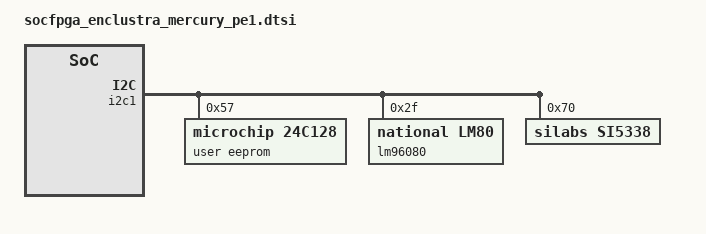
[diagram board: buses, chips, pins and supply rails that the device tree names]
// SPDX-License-Identifier: (GPL-2.0+ OR MIT)
/*
 * Copyright (C) 2022 Enclustra GmbH
 * <info@enclustra.com>
 */

&i2c1 {

	24aa128@57 {
		status = "okay";
		compatible = "microchip,24c128";
		reg = <0x57>;
		pagesize = <64>;
		label = "user eeprom";
		address-width = <16>;
	};

	lm96080@2f {
		status = "okay";
		compatible = "national,lm80";
		reg = <0x2f>;
	};

	si5338@70 {
		/* No driver available */
		compatible = "silabs,si5338";
		reg = <0x70>;
	};

};
